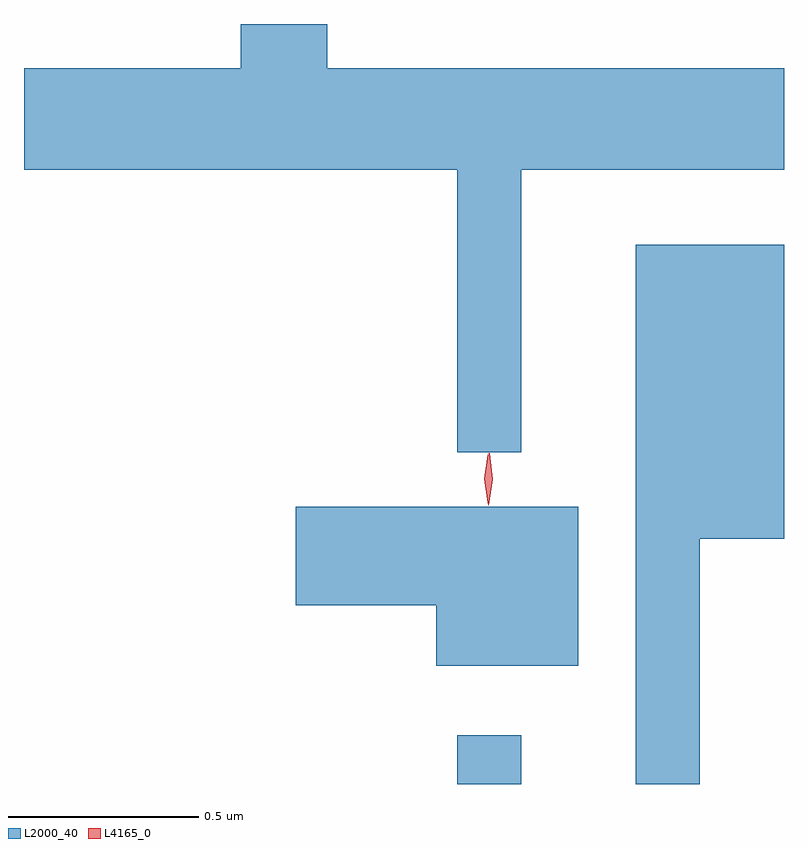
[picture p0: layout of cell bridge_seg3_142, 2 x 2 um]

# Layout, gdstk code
import gdstk
lib = gdstk.Library(unit=1e-6, precision=1e-09)
def R(c, l, rs):  # rectangles x0, y0, x1, y1
    for r in rs: c.add(gdstk.rectangle(r[:2], r[2:], *l))
def P(c, l, *ps):  # polygons
    for p in ps: c.add(gdstk.Polygon(p, *l))
L2000_40 = (2000, 40)
L4165_0 = (4165, 0)

bridge_seg3_142 = lib.new_cell('bridge_seg3_142')
R(bridge_seg3_142, L2000_40, [(759.621,1188.78,759.789,1188.908)])
P(bridge_seg3_142, L2000_40, [(759.789,1190.396),(760.481,1190.396),(760.481,1190.664),(759.279,1190.664),(759.279,1190.78),(759.051,1190.78),(759.051,1190.664),(758.481,1190.664),(758.481,1190.396),(759.621,1190.396),(759.621,1189.653),(759.789,1189.653)],
  [(760.259,1189.426),(760.481,1189.426),(760.481,1190.199),(760.091,1190.199),(760.091,1188.78),(760.259,1188.78)],
  [(759.939,1189.509),(759.196,1189.509),(759.196,1189.251),(759.566,1189.251),(759.566,1189.091),(759.939,1189.091)])
P(bridge_seg3_142, L4165_0, [(759.703,1189.514),(759.703,1189.514),(759.694,1189.582),(759.704,1189.65),(759.705,1189.65),(759.706,1189.65),(759.714,1189.582),(759.704,1189.514)],
  [(759.701,1189.52),(759.692,1189.583),(759.701,1189.646),(759.702,1189.647),(759.702,1189.646),(759.712,1189.583),(759.702,1189.52),(759.702,1189.52)])

lib.write_gds('bridge_seg3_142.gds')
